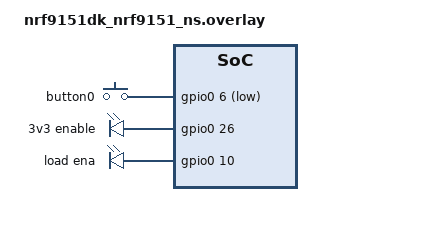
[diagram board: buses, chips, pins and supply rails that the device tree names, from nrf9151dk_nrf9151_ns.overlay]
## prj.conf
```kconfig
CONFIG_LOG=y
CONFIG_I2C=y
CONFIG_GPIO=y
```

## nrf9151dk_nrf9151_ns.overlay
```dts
// To get started, press Ctrl+Space to bring up the completion menu and view the available nodes.

// You can also use the buttons in the sidebar to perform actions on nodes.
// Actions currently available include:

// * Enabling / disabling the node
// * Adding the bus to a bus
// * Removing the node
// * Connecting ADC channels

// For more help, browse the DeviceTree documentation at https://docs.zephyrproject.org/latest/guides/dts/index.html
// You can also visit the nRF DeviceTree extension documentation at https://docs.nordicsemi.com/bundle/nrf-connect-vscode/page/guides/ncs_configure_app.html#devicetree-support-in-the-extension


&i2c2_default {
	group1 {
		psels = <NRF_PSEL(TWIM_SDA, 0, 8)>, <NRF_PSEL(TWIM_SCL, 0, 7)>;
	};
};

&i2c2_sleep {
	group1 {
		psels = <NRF_PSEL(TWIM_SDA, 0, 8)>, <NRF_PSEL(TWIM_SCL, 0, 7)>;
	};
};

&button0 {
	gpios = <&gpio0 6 (GPIO_ACTIVE_LOW | GPIO_PULL_UP)>;
};

&led1 {
	gpios = <&gpio0 26 0>;
	label = "3v3 enable";
};
&led2 {
	gpios = <&gpio0 10 0>;
	label = "load ena";
};
```

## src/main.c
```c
#include <zephyr/kernel.h>
#include <zephyr/device.h>
#include <zephyr/drivers/i2c.h>
#include <zephyr/logging/log.h>
#include <zephyr/drivers/gpio.h>

#include <zephyr/devicetree.h>
#include <zephyr/drivers/i2c.h>
#define LOG_MODULE_NAME main
LOG_MODULE_REGISTER(LOG_MODULE_NAME, CONFIG_LOG_DEFAULT_LEVEL);

#define LED1_NODE DT_ALIAS(led1)
#define LED2_NODE DT_ALIAS(led2)
static const struct gpio_dt_spec boost_3v3 = GPIO_DT_SPEC_GET(LED1_NODE, gpios);
static const struct gpio_dt_spec load_enable = GPIO_DT_SPEC_GET(LED2_NODE, gpios);
int main(void)
{
    int ret;

    // boost_3v3 power pin config
    if (!device_is_ready(boost_3v3.port))
    {
        LOG_ERR("boost 3v3 pin not ready");
        // return; // Or handle the error appropriately
    }
    ret = gpio_pin_configure_dt(&boost_3v3, GPIO_OUTPUT_ACTIVE);
    if (ret < 0)
    {
        LOG_ERR("Error configuring boost 3v3 (err %d)", ret);
        // return; // Or handle the error appropriately
    }
    // load_enable pin config
    if (!device_is_ready(load_enable.port))
    {
        LOG_ERR("load_enablenot ready");
        // return; // Or handle the error appropriately
    }
    ret = gpio_pin_configure_dt(&load_enable, GPIO_OUTPUT_ACTIVE);
    if (ret < 0)
    {
        LOG_ERR("Error configuring load_enable (err %d)", ret);
        // return; // Or handle the error appropriately
    }

    gpio_pin_set_dt(&boost_3v3, 1);
    gpio_pin_set_dt(&load_enable, 1);
    uint8_t cnt = 0;
    uint8_t first = 0x04, last = 0x77;
    const struct device *i2c_dev = DEVICE_DT_GET(DT_NODELABEL(i2c2));
    if (!device_is_ready(i2c_dev))
    {
        LOG_ERR("I2C bus  not ready");
        return 1;
    }

    LOG_INF("I2C scan");

    printk("     0  1  2  3  4  5  6  7  8  9  a  b  c  d  e  f\n");
    for (uint8_t i = 0; i <= last; i += 16)
    {
        printk("%02x: ", i);
        for (uint8_t j = 0; j < 16; j++)
        {
            if (i + j < first || i + j > last)
            {
                printk("   ");
                continue;
            }

            struct i2c_msg msgs[1];
            uint8_t dummy;

            msgs[0].buf = &dummy;
            msgs[0].len = 0U;
            msgs[0].flags = I2C_MSG_WRITE | I2C_MSG_STOP;

            if (i2c_transfer(i2c_dev, msgs, 1, i + j) == 0)
            {
                printk("%02x ", i + j);
                cnt++;
            }
            else
            {
                printk("-- ");
            }
        }
        printk("\n");
    }

    return 0;
}
```
